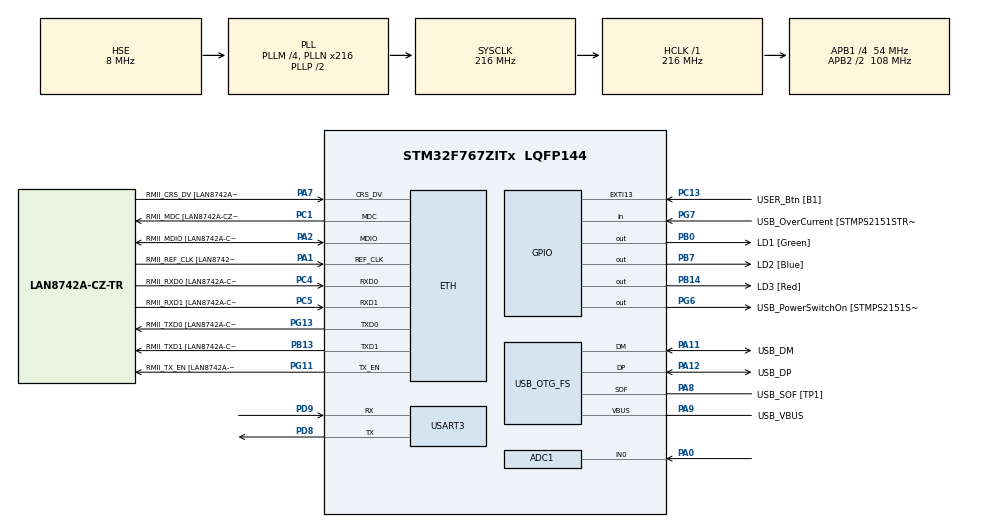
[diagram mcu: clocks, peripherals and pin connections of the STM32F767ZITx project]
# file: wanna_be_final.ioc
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ADC1.Channel-0\#ChannelRegularConversion=ADC_CHANNEL_0
ADC1.NbrOfConversionFlag=1
ADC1.Rank-0\#ChannelRegularConversion=1
ADC1.SamplingTime-0\#ChannelRegularConversion=ADC_SAMPLETIME_3CYCLES
ADC1.master=1
ETH.MediaInterface=HAL_ETH_RMII_MODE
ETH.PHY_Name=LAN8742A_PHY_ADDRESS
ETH.PHY_Value=0
ETH.PhyAddress=0
FREERTOS.Tasks01=External_Sensor,0,128,StartDefaultTask,Default,NULL,Dynamic,NULL,NULL;Transmit_Data,1,128,StartTask02,Default,NULL,Dynamic,NULL,NULL
FREERTOS.configUSE_NEWLIB_REENTRANT=1
Mcu.Family=STM32F7
Mcu.Name=STM32F767ZITx
Mcu.Package=LQFP144
NVIC.PriorityGroup=NVIC_PRIORITYGROUP_4
NVIC.TIM6_DAC_IRQn=true\:15\:0\:false\:false\:true\:false\:false\:true\:true
NVIC.TimeBase=TIM6_DAC_IRQn
NVIC.TimeBaseIP=TIM6
PA0/WKUP.Signal=ADCx_IN0
PA1.GPIO_Label=RMII_REF_CLK [LAN8742A-CZ-TR_REFCLK0]
PA1.Mode=RMII
PA1.Signal=ETH_REF_CLK
PA10.GPIO_Label=USB_ID
PA10.Signal=USB_OTG_FS_ID
PA11.GPIO_Label=USB_DM
PA11.Mode=Device_Only
PA11.Signal=USB_OTG_FS_DM
PA12.GPIO_Label=USB_DP
PA12.Mode=Device_Only
PA12.Signal=USB_OTG_FS_DP
PA13.GPIO_Label=TMS
PA13.Mode=Serial_Wire
PA13.Signal=SYS_JTMS-SWDIO
PA14.GPIO_Label=TCK
PA14.Mode=Serial_Wire
PA14.Signal=SYS_JTCK-SWCLK
PA2.GPIO_Label=RMII_MDIO [LAN8742A-CZ-TR_MDIO]
PA2.Mode=RMII
PA2.Signal=ETH_MDIO
PA7.GPIO_Label=RMII_CRS_DV [LAN8742A-CZ-TR_CRS_DV]
PA7.Mode=RMII
PA7.Signal=ETH_CRS_DV
PA8.GPIO_Label=USB_SOF [TP1]
PA8.Mode=Activate_SOF_FS
PA8.Signal=USB_OTG_FS_SOF
PA9.GPIO_Label=USB_VBUS
PA9.Mode=Activate_VBUS
PA9.Signal=USB_OTG_FS_VBUS
PB0.GPIO_Label=LD1 [Green]
PB0.Signal=GPIO_Output
PB13.GPIO_Label=RMII_TXD1 [LAN8742A-CZ-TR_TXD1]
PB13.Mode=RMII
PB13.Signal=ETH_TXD1
PB14.GPIO_Label=LD3 [Red]
PB14.Signal=GPIO_Output
PB3.GPIO_Label=SWO
PB3.Signal=SYS_JTDO-SWO
PB7.GPIO_Label=LD2 [Blue]
PB7.Signal=GPIO_Output
PC1.GPIO_Label=RMII_MDC [LAN8742A-CZ-TR_MDC]
PC1.Mode=RMII
PC1.Signal=ETH_MDC
PC13.GPIO_Label=USER_Btn [B1]
PC13.Signal=GPXTI13
PC14/OSC32_IN.Mode=LSE-External-Oscillator
PC14/OSC32_IN.Signal=RCC_OSC32_IN
PC15/OSC32_OUT.Mode=LSE-External-Oscillator
PC15/OSC32_OUT.Signal=RCC_OSC32_OUT
PC4.GPIO_Label=RMII_RXD0 [LAN8742A-CZ-TR_RXD0]
PC4.Mode=RMII
PC4.Signal=ETH_RXD0
PC5.GPIO_Label=RMII_RXD1 [LAN8742A-CZ-TR_RXD1]
PC5.Mode=RMII
PC5.Signal=ETH_RXD1
PD8.Mode=Asynchronous
PD8.Signal=USART3_TX
PD9.Mode=Asynchronous
PD9.Signal=USART3_RX
PG11.GPIO_Label=RMII_TX_EN [LAN8742A-CZ-TR_TXEN]
PG11.Mode=RMII
PG11.Signal=ETH_TX_EN
PG13.GPIO_Label=RMII_TXD0 [LAN8742A-CZ-TR_TXD0]
PG13.Mode=RMII
PG13.Signal=ETH_TXD0
PG6.GPIO_Label=USB_PowerSwitchOn [STMPS2151STR_EN]
PG6.Signal=GPIO_Output
PG7.GPIO_Label=USB_OverCurrent [STMPS2151STR_FAULT]
PG7.Signal=GPIO_Input
PH0/OSC_IN.GPIO_Label=MCO [STM32F103CBT6_PA8]
PH0/OSC_IN.Mode=HSE-External-Clock-Source
PH0/OSC_IN.Signal=RCC_OSC_IN
PH1/OSC_OUT.Mode=HSE-External-Clock-Source
PH1/OSC_OUT.Signal=RCC_OSC_OUT
ProjectManager.HeapSize=0x200
ProjectManager.StackSize=0x400
ProjectManager.TargetToolchain=STM32CubeIDE
RCC.48MHZClocksFreq_Value=24000000
RCC.AHBFreq_Value=216000000
RCC.APB1CLKDivider=RCC_HCLK_DIV4
RCC.APB1Freq_Value=54000000
RCC.APB1TimFreq_Value=108000000
RCC.APB2CLKDivider=RCC_HCLK_DIV2
RCC.APB2Freq_Value=108000000
RCC.APB2TimFreq_Value=216000000
RCC.CortexFreq_Value=216000000
RCC.HCLKFreq_Value=216000000
RCC.HSE_VALUE=8000000
RCC.HSI_VALUE=16000000
RCC.PLLM=4
RCC.PLLMUL=RCC_PLL_MUL9
RCC.PLLN=216
RCC.PLLQ=9
RCC.PRESCALERUSB=RCC_USBCLKSOURCE_PLL_DIV1_5
RCC.SYSCLKFreq_VALUE=216000000
RCC.SYSCLKSource=RCC_SYSCLKSOURCE_PLLCLK
RCC.SYSCLKSourceVirtual=RCC_SYSCLKSOURCE_PLLCLK
RCC.USBFreq_Value=48000000
RCC.VCOOutputFreq_Value=432000000
SH.ADCx_IN0.0=ADC1_IN0,IN0
USART3.VirtualMode-Asynchronous=VM_ASYNC
USB_OTG_FS.VirtualMode=Device_Only
VP_FREERTOS_VS_CMSIS_V1.Mode=CMSIS_V1
VP_SYS_VS_tim6.Mode=TIM6
board=NUCLEO-F767ZI

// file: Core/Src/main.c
/* USER CODE BEGIN Header */
/**
  ******************************************************************************
  * @file           : main.c
  * @brief          : Main program body
  ******************************************************************************
  * @attention
  *
  * Copyright (c) 2023 STMicroelectronics.
  * All rights reserved.
  *
  * This software is licensed under terms that can be found in the LICENSE file
  * in the root directory of this software component.
  * If no LICENSE file comes with this software, it is provided AS-IS.
  *
  ******************************************************************************
  */
/* USER CODE END Header */
#include "main.h"
#include <string.h>
#include "cmsis_os.h"
#include <stdio.h>

/* USER CODE BEGIN Includes */
#include "SPIsensor.h"

/* USER CODE END Includes */

#if defined ( __ICCARM__ ) /*!< IAR Compiler */
#pragma location=0x2007c000
ETH_DMADescTypeDef  DMARxDscrTab[ETH_RX_DESC_CNT]; /* Ethernet Rx DMA Descriptors */
#pragma location=0x2007c0a0
ETH_DMADescTypeDef  DMATxDscrTab[ETH_TX_DESC_CNT]; /* Ethernet Tx DMA Descriptors */

#elif defined ( __CC_ARM )  /* MDK ARM Compiler */

__attribute__((at(0x2007c000))) ETH_DMADescTypeDef  DMARxDscrTab[ETH_RX_DESC_CNT]; /* Ethernet Rx DMA Descriptors */
__attribute__((at(0x2007c0a0))) ETH_DMADescTypeDef  DMATxDscrTab[ETH_TX_DESC_CNT]; /* Ethernet Tx DMA Descriptors */

#elif defined ( __GNUC__ ) /* GNU Compiler */
ETH_DMADescTypeDef DMARxDscrTab[ETH_RX_DESC_CNT] __attribute__((section(".RxDecripSection"))); /* Ethernet Rx DMA Descriptors */
ETH_DMADescTypeDef DMATxDscrTab[ETH_TX_DESC_CNT] __attribute__((section(".TxDecripSection")));   /* Ethernet Tx DMA Descriptors */

#endif

ETH_TxPacketConfig TxConfig;

ADC_HandleTypeDef hadc1;

ETH_HandleTypeDef heth;

UART_HandleTypeDef huart3;

PCD_HandleTypeDef hpcd_USB_OTG_FS;

osThreadId External_SensorHandle;
osThreadId Transmit_DataHandle;
/* USER CODE BEGIN PV */

SPI_sensor *my_struct;
uint16_t rawADC;

char convertedADC[10];
uint8_t bytes;

/* USER CODE END PV */

void SystemClock_Config(void);
static void MX_GPIO_Init(void);
static void MX_ETH_Init(void);
static void MX_USART3_UART_Init(void);
static void MX_USB_OTG_FS_PCD_Init(void);
static void MX_ADC1_Init(void);
void StartDefaultTask(void const * argument);
void StartTask02(void const * argument);

/* USER CODE BEGIN 0 */

void sensorHandle(void)
{
		rawADC = HAL_ADC_GetValue(my_struct -> ADC_ptr);

		if (rawADC > 3000)
			rawADC = 3000;

		my_struct -> ADC_vals[my_struct -> count] = (uint8_t) (rawADC * V_CONVERSION);
		my_struct -> count++;
}

void TxDataHandle(void)
{
	if (my_struct->count < BUFSIZE)
	{
		for (int i = 0; i < BUFSIZE; i++)
		{
			bytes = sprintf(convertedADC, "%hu\r\n", my_struct -> ADC_vals[i]);
			HAL_UART_Transmit(&huart3, (uint8_t *)convertedADC, bytes, HAL_MAX_DELAY);
		}

		SetMembers(my_struct);
		HAL_ADC_Start_IT(my_struct -> ADC_ptr);
	 }
}

/* USER CODE END 0 */

int main(void)
{
  /* USER CODE BEGIN 1 */
	my_struct -> ADC_ptr = &hadc1;
	SetMembers(my_struct);

  /* USER CODE END 1 */

  /* MCU Configuration--------------------------------------------------------*/

  /* Reset of all peripherals, Initializes the Flash interface and the Systick. */
  HAL_Init();

  /* Configure the system clock */
  SystemClock_Config();

  /* Initialize all configured peripherals */
  MX_GPIO_Init();
  MX_ETH_Init();
  MX_USART3_UART_Init();
  MX_USB_OTG_FS_PCD_Init();
  MX_ADC1_Init();
  /* USER CODE BEGIN 2 */

  HAL_ADC_Start(my_struct -> ADC_ptr);

  /* USER CODE END 2 */

  /* Create the thread(s) */
  /* definition and creation of External_Sensor */
  osThreadDef(External_Sensor, StartDefaultTask, osPriorityNormal, 0, 128);
  External_SensorHandle = osThreadCreate(osThread(External_Sensor), NULL);

  /* definition and creation of Transmit_Data */
  osThreadDef(Transmit_Data, StartTask02, osPriorityAboveNormal, 0, 128);
  Transmit_DataHandle = osThreadCreate(osThread(Transmit_Data), NULL);

  /* Start scheduler */
  osKernelStart();

  /* We should never get here as control is now taken by the scheduler */
  /* Infinite loop */
  while (1)
  {

  }
}

void SystemClock_Config(void)
{
  RCC_OscInitTypeDef RCC_OscInitStruct = {0};
  RCC_ClkInitTypeDef RCC_ClkInitStruct = {0};

  /** Configure LSE Drive Capability
  */
  HAL_PWR_EnableBkUpAccess();

  /** Configure the main internal regulator output voltage
  */
  __HAL_RCC_PWR_CLK_ENABLE();
  __HAL_PWR_VOLTAGESCALING_CONFIG(PWR_REGULATOR_VOLTAGE_SCALE1);

  /** Initializes the RCC Oscillators according to the specified parameters
  * in the RCC_OscInitTypeDef structure.
  */
  RCC_OscInitStruct.OscillatorType = RCC_OSCILLATORTYPE_HSE;
  RCC_OscInitStruct.HSEState = RCC_HSE_BYPASS;
  RCC_OscInitStruct.PLL.PLLState = RCC_PLL_ON;
  RCC_OscInitStruct.PLL.PLLSource = RCC_PLLSOURCE_HSE;
  RCC_OscInitStruct.PLL.PLLM = 4;
  RCC_OscInitStruct.PLL.PLLN = 216;
  RCC_OscInitStruct.PLL.PLLP = RCC_PLLP_DIV2;
  RCC_OscInitStruct.PLL.PLLQ = 9;
  RCC_OscInitStruct.PLL.PLLR = 2;
  if (HAL_RCC_OscConfig(&RCC_OscInitStruct) != HAL_OK)
  {
    Error_Handler();
  }

  /** Activate the Over-Drive mode
  */
  if (HAL_PWREx_EnableOverDrive() != HAL_OK)
  {
    Error_Handler();
  }

  /** Initializes the CPU, AHB and APB buses clocks
  */
  RCC_ClkInitStruct.ClockType = RCC_CLOCKTYPE_HCLK|RCC_CLOCKTYPE_SYSCLK
                              |RCC_CLOCKTYPE_PCLK1|RCC_CLOCKTYPE_PCLK2;
  RCC_ClkInitStruct.SYSCLKSource = RCC_SYSCLKSOURCE_PLLCLK;
  RCC_ClkInitStruct.AHBCLKDivider = RCC_SYSCLK_DIV1;
  RCC_ClkInitStruct.APB1CLKDivider = RCC_HCLK_DIV4;
  RCC_ClkInitStruct.APB2CLKDivider = RCC_HCLK_DIV2;

  if (HAL_RCC_ClockConfig(&RCC_ClkInitStruct, FLASH_LATENCY_7) != HAL_OK)
  {
    Error_Handler();
  }
}

static void MX_ADC1_Init(void)
{

  ADC_ChannelConfTypeDef sConfig = {0};

  /** Configure the global features of the ADC (Clock, Resolution, Data Alignment and number of conversion)
  */
  hadc1.Instance = ADC1;
  hadc1.Init.ClockPrescaler = ADC_CLOCK_SYNC_PCLK_DIV4;
  hadc1.Init.Resolution = ADC_RESOLUTION_12B;
  hadc1.Init.ScanConvMode = ADC_SCAN_DISABLE;
  hadc1.Init.ContinuousConvMode = DISABLE;
  hadc1.Init.DiscontinuousConvMode = DISABLE;
  hadc1.Init.ExternalTrigConvEdge = ADC_EXTERNALTRIGCONVEDGE_NONE;
  hadc1.Init.ExternalTrigConv = ADC_SOFTWARE_START;
  hadc1.Init.DataAlign = ADC_DATAALIGN_RIGHT;
  hadc1.Init.NbrOfConversion = 1;
  hadc1.Init.DMAContinuousRequests = DISABLE;
  hadc1.Init.EOCSelection = ADC_EOC_SINGLE_CONV;
  if (HAL_ADC_Init(&hadc1) != HAL_OK)
  {
    Error_Handler();
  }

  /** Configure for the selected ADC regular channel its corresponding rank in the sequencer and its sample time.
  */
  sConfig.Channel = ADC_CHANNEL_0;
  sConfig.Rank = ADC_REGULAR_RANK_1;
  sConfig.SamplingTime = ADC_SAMPLETIME_3CYCLES;
  if (HAL_ADC_ConfigChannel(&hadc1, &sConfig) != HAL_OK)
  {
    Error_Handler();
  }

}

static void MX_ETH_Init(void)
{

   static uint8_t MACAddr[6];

  heth.Instance = ETH;
  MACAddr[0] = 0x00;
  MACAddr[1] = 0x80;
  MACAddr[2] = 0xE1;
  MACAddr[3] = 0x00;
  MACAddr[4] = 0x00;
  MACAddr[5] = 0x00;
  heth.Init.MACAddr = &MACAddr[0];
  heth.Init.MediaInterface = HAL_ETH_RMII_MODE;
  heth.Init.TxDesc = DMATxDscrTab;
  heth.Init.RxDesc = DMARxDscrTab;
  heth.Init.RxBuffLen = 1524;

  if (HAL_ETH_Init(&heth) != HAL_OK)
  {
    Error_Handler();
  }

  memset(&TxConfig, 0 , sizeof(ETH_TxPacketConfig));
  TxConfig.Attributes = ETH_TX_PACKETS_FEATURES_CSUM | ETH_TX_PACKETS_FEATURES_CRCPAD;
  TxConfig.ChecksumCtrl = ETH_CHECKSUM_IPHDR_PAYLOAD_INSERT_PHDR_CALC;
  TxConfig.CRCPadCtrl = ETH_CRC_PAD_INSERT;

}

static void MX_USART3_UART_Init(void)
{

  huart3.Instance = USART3;
  huart3.Init.BaudRate = 115200;
  huart3.Init.WordLength = UART_WORDLENGTH_8B;
  huart3.Init.StopBits = UART_STOPBITS_1;
  huart3.Init.Parity = UART_PARITY_NONE;
  huart3.Init.Mode = UART_MODE_TX_RX;
  huart3.Init.HwFlowCtl = UART_HWCONTROL_NONE;
  huart3.Init.OverSampling = UART_OVERSAMPLING_16;
  huart3.Init.OneBitSampling = UART_ONE_BIT_SAMPLE_DISABLE;
  huart3.AdvancedInit.AdvFeatureInit = UART_ADVFEATURE_NO_INIT;
  if (HAL_UART_Init(&huart3) != HAL_OK)
  {
    Error_Handler();
  }

}

static void MX_USB_OTG_FS_PCD_Init(void)
{

  hpcd_USB_OTG_FS.Instance = USB_OTG_FS;
  hpcd_USB_OTG_FS.Init.dev_endpoints = 6;
  hpcd_USB_OTG_FS.Init.speed = PCD_SPEED_FULL;
  hpcd_USB_OTG_FS.Init.dma_enable = DISABLE;
  hpcd_USB_OTG_FS.Init.phy_itface = PCD_PHY_EMBEDDED;
  hpcd_USB_OTG_FS.Init.Sof_enable = ENABLE;
  hpcd_USB_OTG_FS.Init.low_power_enable = DISABLE;
  hpcd_USB_OTG_FS.Init.lpm_enable = DISABLE;
  hpcd_USB_OTG_FS.Init.vbus_sensing_enable = ENABLE;
  hpcd_USB_OTG_FS.Init.use_dedicated_ep1 = DISABLE;
  if (HAL_PCD_Init(&hpcd_USB_OTG_FS) != HAL_OK)
  {
    Error_Handler();
  }

}

static void MX_GPIO_Init(void)
{
  GPIO_InitTypeDef GPIO_InitStruct = {0};

  /* GPIO Ports Clock Enable */
  __HAL_RCC_GPIOC_CLK_ENABLE();
  __HAL_RCC_GPIOH_CLK_ENABLE();
  __HAL_RCC_GPIOA_CLK_ENABLE();
  __HAL_RCC_GPIOB_CLK_ENABLE();
  __HAL_RCC_GPIOD_CLK_ENABLE();
  __HAL_RCC_GPIOG_CLK_ENABLE();

  /*Configure GPIO pin Output Level */
  HAL_GPIO_WritePin(GPIOB, LD1_Pin|LD3_Pin|LD2_Pin, GPIO_PIN_RESET);

  /*Configure GPIO pin Output Level */
  HAL_GPIO_WritePin(USB_PowerSwitchOn_GPIO_Port, USB_PowerSwitchOn_Pin, GPIO_PIN_RESET);

  /*Configure GPIO pin : USER_Btn_Pin */
  GPIO_InitStruct.Pin = USER_Btn_Pin;
  GPIO_InitStruct.Mode = GPIO_MODE_IT_RISING;
  GPIO_InitStruct.Pull = GPIO_NOPULL;
  HAL_GPIO_Init(USER_Btn_GPIO_Port, &GPIO_InitStruct);

  /*Configure GPIO pins : LD1_Pin LD3_Pin LD2_Pin */
  GPIO_InitStruct.Pin = LD1_Pin|LD3_Pin|LD2_Pin;
  GPIO_InitStruct.Mode = GPIO_MODE_OUTPUT_PP;
  GPIO_InitStruct.Pull = GPIO_NOPULL;
  GPIO_InitStruct.Speed = GPIO_SPEED_FREQ_LOW;
  HAL_GPIO_Init(GPIOB, &GPIO_InitStruct);

  /*Configure GPIO pin : USB_PowerSwitchOn_Pin */
  GPIO_InitStruct.Pin = USB_PowerSwitchOn_Pin;
  GPIO_InitStruct.Mode = GPIO_MODE_OUTPUT_PP;
  GPIO_InitStruct.Pull = GPIO_NOPULL;
  GPIO_InitStruct.Speed = GPIO_SPEED_FREQ_LOW;
  HAL_GPIO_Init(USB_PowerSwitchOn_GPIO_Port, &GPIO_InitStruct);

  /*Configure GPIO pin : USB_OverCurrent_Pin */
  GPIO_InitStruct.Pin = USB_OverCurrent_Pin;
  GPIO_InitStruct.Mode = GPIO_MODE_INPUT;
  GPIO_InitStruct.Pull = GPIO_NOPULL;
  HAL_GPIO_Init(USB_OverCurrent_GPIO_Port, &GPIO_InitStruct);

}

void StartDefaultTask(void const * argument)
{
  /* USER CODE BEGIN 5 */
	//This is our extern sensor function

  /* Infinite loop */
  for(;;)
  {
	  sensorHandle();
	  osDelay(1);
  }
  /* USER CODE END 5 */
}

void StartTask02(void const * argument)
{
  /* USER CODE BEGIN StartTask02 */
	//This is our TxData function to python
  /* Infinite loop */
  for(;;)
  {
	  TxDataHandle();
	  osDelay(2000);
  }
  /* USER CODE END StartTask02 */
}

void HAL_TIM_PeriodElapsedCallback(TIM_HandleTypeDef *htim)
{
  if (htim->Instance == TIM6) {
    HAL_IncTick();
  }
}

void Error_Handler(void)
{
  __disable_irq();
  while (1)
  {
  }
}
